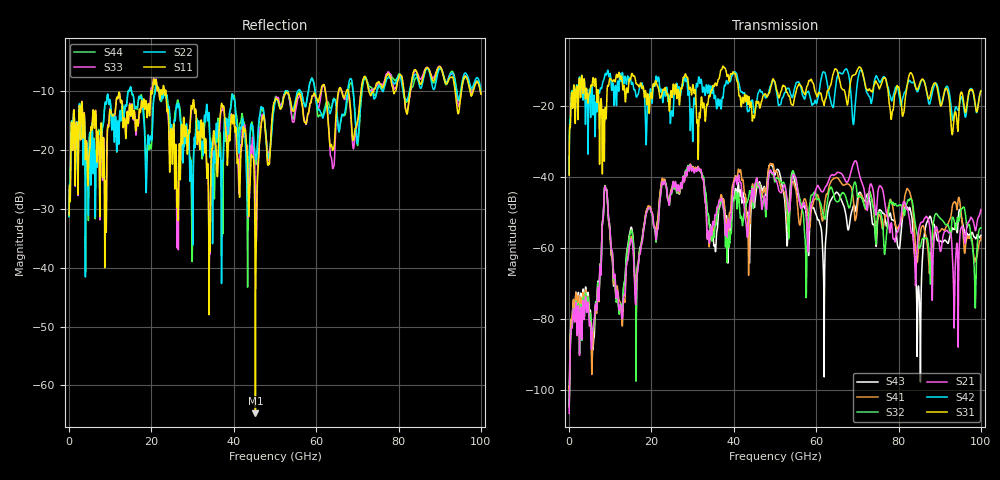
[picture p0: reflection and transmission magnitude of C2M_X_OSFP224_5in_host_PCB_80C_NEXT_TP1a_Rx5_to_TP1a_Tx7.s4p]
# GHz S RI R 45
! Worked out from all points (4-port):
!   4000 points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, 25 MHz to 100 GHz, reference 45 ohm
!   strongest paths, dB at 25 MHz, 25.02 GHz, 50.02 GHz, 75.03 GHz, 100 GHz:
!     S31: -39.6, -17.7, -13.4, -14.1, -15.8
!     S42: -39.3, -21.6, -13.7, -12.5, -15.9
!     S21: -106.5, -43.9, -40.8, -44.0, -49.2
!     S32: -104.6, -44.2, -41.4, -50.1, -54.3
!     S41: -99.0, -43.1, -38.6, -51.6, -57.0
!     S43: -104.6, -43.4, -39.3, -51.0, -56.5
!   lowest |S11| = -64.8 dB at 45.25 GHz (marker M1), VSWR 1.00, Z = 45 + j0.025 ohm
!   |S11| at or under -10 dB: start of sweep to 19.91 GHz; 23.54 GHz to 61.13 GHz (37.6 GHz wide, 88.8 % of centre); 62.22 GHz to 65.43 GHz (3.204 GHz wide, 5.02 % of centre) (the widest 3 of 15)
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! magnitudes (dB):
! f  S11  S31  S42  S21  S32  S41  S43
! 25 MHz  -31.0  -39.6  -39.3  -106.5  -104.6  -99.0  -104.6
! 6.3 GHz  -14.4  -13.1  -25.8  -77.6  -77.9  -78.3  -79.2
! 8.9 GHz  -25.7  -21.3  -10.9  -43.5  -43.5  -43.4  -43.4
! 12.57 GHz  -11.9  -12.2  -12.5  -76.3  -75.7  -75.8  -76.4
! 22.88 GHz  -9.1  -15.4  -18.0  -42.1  -41.9  -41.2  -40.9
! 45.25 GHz  -64.8  -20.9  -20.9  -41.6  -42.8  -43.4  -46.0
! 100 GHz  -10.4  -15.8  -15.9  -49.2  -54.3  -57.0  -56.5
